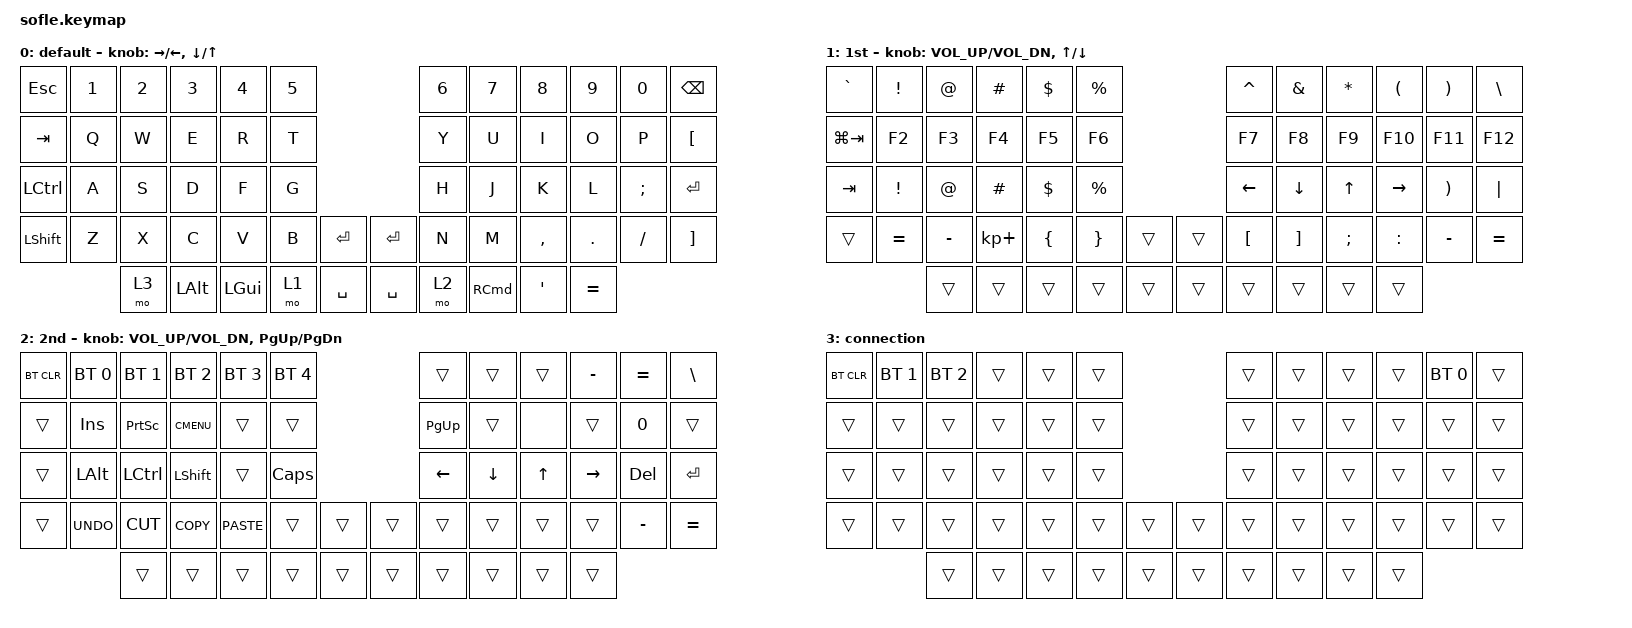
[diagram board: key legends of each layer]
/*
 * Copyright (c) 2020 The ZMK Contributors
 *
 * SPDX-License-Identifier: MIT
 */

#include <behaviors.dtsi>
#include <dt-bindings/zmk/bt.h>
#include <dt-bindings/zmk/keys.h>

#define BASE 0
#define LOWER 1
#define RAISE 2
#define ADJUST 3

/ {
    // Activate ADJUST layer by pressing raise and lower

    conditional_layers { compatible = "zmk,conditional-layers"; };

    keymap {
        compatible = "zmk,keymap";

        default_layer {
            label = "default";

            // ------------------------------------------------------------------------------------------------------------
            // |   `   |  1  |  2  |  3   |  4   |  5   |                   |  6   |  7    |  8    |  9   |   0   |       |
            // |  ESC  |  Q  |  W  |  E   |  R   |  T   |                   |  Y   |  U    |  I    |  O   |   P   | BKSPC |
            // |  TAB  |  A  |  S  |  D   |  F   |  G   |                   |  H   |  J    |  K    |  L   |   ;   |   '   |
            // | SHIFT |  Z  |  X  |  C   |  V   |  B   |  MUTE  |  |       |  N   |  M    |  ,    |  .   |   /   | SHIFT |
            //               | GUI | ALT  | CTRL | LOWER|  ENTER |  | SPACE | RAISE| CTRL  | ALT   | GUI  |

            bindings = <
&kp ESC    &kp N1  &kp N2  &kp N3    &kp N4    &kp N5                          &kp N6  &kp N7    &kp N8     &kp N9     &kp N0    &kp BACKSPACE
&kp TAB    &kp Q   &kp W   &kp E     &kp R     &kp T                           &kp Y   &kp U     &kp I      &kp O      &kp P     &kp LEFT_BRACKET
&kp LCTRL  &kp A   &kp S   &kp D     &kp F     &kp G                           &kp H   &kp J     &kp K      &kp L      &kp SEMI  &kp ENTER
&kp LSHFT  &kp Z   &kp X   &kp C     &kp V     &kp B   &kp ENTER    &kp ENTER  &kp N   &kp M     &kp COMMA  &kp DOT    &kp FSLH  &kp RIGHT_BRACKET
                   &mo 3   &kp LALT  &kp LGUI  &mo 1   &kp SPACE    &kp SPACE  &mo 2   &kp RCMD  &kp SQT    &kp EQUAL
            >;

            sensor-bindings =
                <&inc_dec_kp RIGHT LEFT_ARROW>,
                <&inc_dec_kp DOWN_ARROW UP_ARROW>;
        };

        first_layer {
            label = "1st";

            // TODO: Some binds are waiting for shifted keycode support.
            // ------------------------------------------------------------------------------------------------------------
            // |       |  F1 |  F2 |  F3  |  F4  |  F5  |                   |  F6  |  F7   |  F8   |  F9  |  F10  |  F11  |
            // |   `   |  1  |  2  |  3   |  4   |  5   |                   |  6   |  7    |  8    |  9   |   0   |  F12  |
            // |       |  !  |  @  |  #   |  $   |  %   |                   |  ^   |  &    |  *    |  (   |   )   |   |   |
            // |       |  =  |  -  |  +   |  {   |  }   |        |  |       |  [   |  ]    |  ;    |  :   |   \   |       |
            //               |     |      |      |      |        |  |       |      |       |       |      |

            bindings = <
&kp GRAVE    &kp EXCLAMATION  &kp AT_SIGN  &kp HASH     &kp DOLLAR  &kp PERCENT                    &kp CARET  &kp AMPERSAND  &kp ASTERISK  &kp LEFT_PARENTHESIS  &kp RIGHT_PARENTHESIS  &kp BACKSLASH
&kp LG(TAB)  &kp F2           &kp F3       &kp F4       &kp F5      &kp F6                         &kp F7     &kp F8         &kp F9        &kp F10               &kp F11                &kp F12
&kp TAB      &kp EXCL         &kp AT       &kp HASH     &kp DLLR    &kp PRCNT                      &kp LEFT   &kp DOWN       &kp UP_ARROW  &kp RIGHT             &kp RPAR               &kp PIPE
&trans       &kp EQUAL        &kp MINUS    &kp KP_PLUS  &kp LBRC    &kp RBRC     &trans    &trans  &kp LBKT   &kp RBKT       &kp SEMI      &kp COLON             &kp MINUS              &kp EQUAL
                              &trans       &trans       &trans      &trans       &trans    &trans  &trans     &trans         &trans        &trans
            >;

            sensor-bindings =
                <&inc_dec_kp C_VOL_UP C_VOL_DN>,
                <&inc_dec_kp UP_ARROW DOWN_ARROW>;
        };

        second_layer {
            label = "2nd";

            // ------------------------------------------------------------------------------------------------------------
            // | BTCLR | BT1  | BT2  |  BT3  |  BT4  |  BT5 |                |      |      |       |      |       |       |
            // |       | INS  | PSCR | GUI   |       |      |                | PGUP |      |   ^   |      |       |       |
            // |       | ALT  | CTRL | SHIFT |       | CAPS |                | PGDN |   <- |   v   |  ->  |  DEL  | BKSPC |
            // |       | UNDO | CUT  | COPY  | PASTE |      |      |  |      |      |      |       |      |       |       |
            //                |      |       |       |      |      |  |      |      |      |       |      |

            bindings = <
&bt BT_CLR  &bt BT_SEL 0  &bt BT_SEL 1  &bt BT_SEL 2  &bt BT_SEL 3  &bt BT_SEL 4                    &trans     &trans          &trans        &kp MINUS  &kp EQUAL  &kp BACKSLASH
&trans      &kp INS       &kp PSCRN     &kp K_CMENU   &trans        &trans                          &kp PG_UP  &trans          &none         &trans     &kp N0     &trans
&trans      &kp LALT      &kp LCTRL     &kp LSHFT     &trans        &kp CLCK                        &kp LEFT   &kp DOWN_ARROW  &kp UP_ARROW  &kp RIGHT  &kp DEL    &kp ENTER
&trans      &kp K_UNDO    &kp K_CUT     &kp K_COPY    &kp K_PASTE   &trans        &trans    &trans  &trans     &trans          &trans        &trans     &kp MINUS  &kp EQUAL
                          &trans        &trans        &trans        &trans        &trans    &trans  &trans     &trans          &trans        &trans
            >;

            sensor-bindings = <&inc_dec_kp C_VOL_UP C_VOL_DN &inc_dec_kp PG_UP PG_DN>;
        };

        connection {
            bindings = <
&bt BT_CLR  &bt BT_SEL 1  &bt BT_SEL 2  &trans  &trans  &trans                    &trans  &trans  &trans  &trans  &bt BT_SEL 0  &trans
&trans      &trans        &trans        &trans  &trans  &trans                    &trans  &trans  &trans  &trans  &trans        &trans
&trans      &trans        &trans        &trans  &trans  &trans                    &trans  &trans  &trans  &trans  &trans        &trans
&trans      &trans        &trans        &trans  &trans  &trans  &trans    &trans  &trans  &trans  &trans  &trans  &trans        &trans
                          &trans        &trans  &trans  &trans  &trans    &trans  &trans  &trans  &trans  &trans
            >;

            label = "connection";
        };
    };
};
